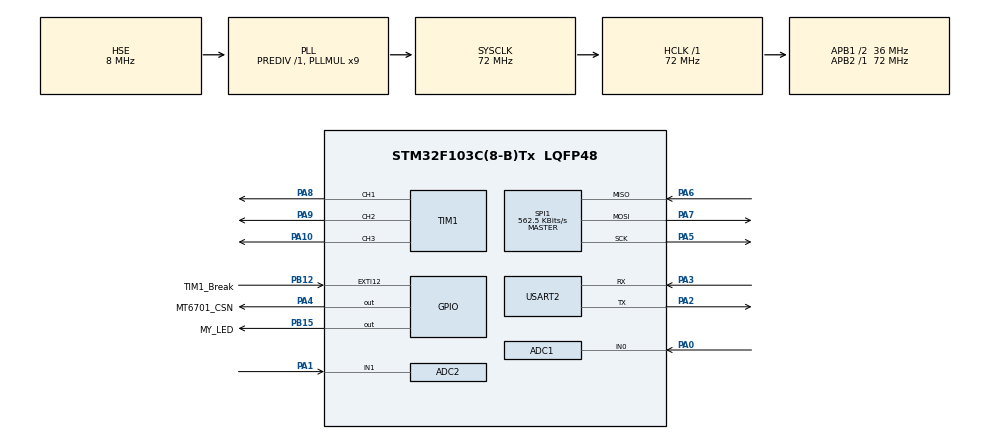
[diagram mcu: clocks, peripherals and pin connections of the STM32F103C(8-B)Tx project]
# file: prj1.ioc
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ADC1.Channel-1\#ChannelInjectedConversion=ADC_CHANNEL_0
ADC1.ContinuousConvMode=ENABLE
ADC1.EnableInjectedConversion=ENABLE
ADC1.EnableRegularConversion=DISABLE
ADC1.ExternalTrigInjecConv=ADC_EXTERNALTRIGINJECCONV_T1_TRGO
ADC1.InjNumberOfConversion=1
ADC1.InjectedOffset-1\#ChannelInjectedConversion=0
ADC1.InjectedRank-1\#ChannelInjectedConversion=1
ADC1.Mode=ADC_DUALMODE_INJECSIMULT
ADC1.SamplingTime-1\#ChannelInjectedConversion=ADC_SAMPLETIME_7CYCLES_5
ADC1.master=1
ADC2.Channel-1\#ChannelInjectedConversion=ADC_CHANNEL_1
ADC2.ContinuousConvMode=ENABLE
ADC2.EnableInjectedConversion=ENABLE
ADC2.EnableRegularConversion=DISABLE
ADC2.InjNumberOfConversion=1
ADC2.InjectedOffset-1\#ChannelInjectedConversion=0
ADC2.InjectedRank-1\#ChannelInjectedConversion=1
ADC2.Mode=ADC_DUALMODE_INJECSIMULT
ADC2.SamplingTime-1\#ChannelInjectedConversion=ADC_SAMPLETIME_7CYCLES_5
Dma.Request0=SPI1_RX
Dma.Request1=SPI1_TX
Dma.SPI1_RX.0.Direction=DMA_PERIPH_TO_MEMORY
Dma.SPI1_RX.0.Instance=DMA1_Channel2
Dma.SPI1_RX.0.MemDataAlignment=DMA_MDATAALIGN_BYTE
Dma.SPI1_RX.0.MemInc=DMA_MINC_ENABLE
Dma.SPI1_RX.0.Mode=DMA_NORMAL
Dma.SPI1_RX.0.PeriphDataAlignment=DMA_PDATAALIGN_BYTE
Dma.SPI1_RX.0.PeriphInc=DMA_PINC_DISABLE
Dma.SPI1_RX.0.Priority=DMA_PRIORITY_LOW
Dma.SPI1_TX.1.Direction=DMA_MEMORY_TO_PERIPH
Dma.SPI1_TX.1.Instance=DMA1_Channel3
Dma.SPI1_TX.1.MemDataAlignment=DMA_MDATAALIGN_BYTE
Dma.SPI1_TX.1.MemInc=DMA_MINC_ENABLE
Dma.SPI1_TX.1.Mode=DMA_NORMAL
Dma.SPI1_TX.1.PeriphDataAlignment=DMA_PDATAALIGN_BYTE
Dma.SPI1_TX.1.PeriphInc=DMA_PINC_DISABLE
Dma.SPI1_TX.1.Priority=DMA_PRIORITY_LOW
Mcu.Family=STM32F1
Mcu.Name=STM32F103C(8-B)Tx
Mcu.Package=LQFP48
Mcu.UserConstants=speed_calc_freq,motor_speed_calc_freq,motor_pwm_freq
NVIC.ADC1_2_IRQn=true\:1\:0\:true\:false\:true\:true\:true\:true
NVIC.DMA1_Channel2_IRQn=true\:0\:0\:false\:false\:true\:false\:true\:true
NVIC.DMA1_Channel3_IRQn=true\:0\:0\:false\:false\:true\:false\:true\:true
NVIC.EXTI15_10_IRQn=true\:3\:0\:true\:false\:true\:true\:true\:true
NVIC.PriorityGroup=NVIC_PRIORITYGROUP_4
NVIC.TIM3_IRQn=true\:1\:0\:true\:false\:true\:true\:true\:true
PA0-WKUP.Signal=ADCx_IN0
PA1.Signal=ADCx_IN1
PA10.Signal=S_TIM1_CH3
PA13.Mode=Serial_Wire
PA13.Signal=SYS_JTMS-SWDIO
PA14.Mode=Serial_Wire
PA14.Signal=SYS_JTCK-SWCLK
PA2.Mode=Asynchronous
PA2.Signal=USART2_TX
PA3.Mode=Asynchronous
PA3.Signal=USART2_RX
PA4.GPIO_Label=MT6701_CSN
PA4.Signal=GPIO_Output
PA5.Mode=Full_Duplex_Master
PA5.Signal=SPI1_SCK
PA6.Mode=Full_Duplex_Master
PA6.Signal=SPI1_MISO
PA7.Mode=Full_Duplex_Master
PA7.Signal=SPI1_MOSI
PA8.Signal=S_TIM1_CH1
PA9.Signal=S_TIM1_CH2
PB12.GPIO_Label=TIM1_Break
PB12.Signal=GPXTI12
PB15.GPIO_Label=MY_LED
PB15.Signal=GPIO_Output
PD0-OSC_IN.Mode=HSE-External-Oscillator
PD0-OSC_IN.Signal=RCC_OSC_IN
PD1-OSC_OUT.Mode=HSE-External-Oscillator
PD1-OSC_OUT.Signal=RCC_OSC_OUT
ProjectManager.HeapSize=0x200
ProjectManager.StackSize=0x400
ProjectManager.TargetToolchain=MDK-ARM V5.27
RCC.ADCPresc=RCC_ADCPCLK2_DIV6
RCC.AHBFreq_Value=72000000
RCC.APB1CLKDivider=RCC_HCLK_DIV2
RCC.APB1Freq_Value=36000000
RCC.APB1TimFreq_Value=72000000
RCC.APB2Freq_Value=72000000
RCC.APB2TimFreq_Value=72000000
RCC.HCLKFreq_Value=72000000
RCC.PLLMUL=RCC_PLL_MUL9
RCC.PLLSourceVirtual=RCC_PLLSOURCE_HSE
RCC.SYSCLKFreq_VALUE=72000000
RCC.SYSCLKSource=RCC_SYSCLKSOURCE_PLLCLK
RCC.USBFreq_Value=72000000
SH.ADCx_IN0.0=ADC1_IN0,IN0
SH.ADCx_IN1.0=ADC2_IN1,IN1
SH.S_TIM1_CH1.0=TIM1_CH1,PWM Generation1 CH1
SH.S_TIM1_CH2.0=TIM1_CH2,PWM Generation2 CH2
SH.S_TIM1_CH3.0=TIM1_CH3,PWM Generation3 CH3
SPI1.BaudRatePrescaler=SPI_BAUDRATEPRESCALER_128
SPI1.CLKPhase=SPI_PHASE_2EDGE
SPI1.CalculateBaudRate=562.5 KBits/s
SPI1.Direction=SPI_DIRECTION_2LINES
SPI1.Mode=SPI_MODE_MASTER
SPI1.VirtualType=VM_MASTER
STMicroelectronics.X-CUBE-ALGOBUILD.1.1.0.LibraryCcDSPOoLibraryJjDSPOoLibrary=true
TIM1.AutoReloadPreload=TIM_AUTORELOAD_PRELOAD_ENABLE
TIM1.BreakPolarity=TIM_BREAKPOLARITY_LOW
TIM1.Channel-PWM\ Generation1\ CH1=TIM_CHANNEL_1
TIM1.Channel-PWM\ Generation2\ CH2=TIM_CHANNEL_2
TIM1.Channel-PWM\ Generation3\ CH3=TIM_CHANNEL_3
TIM1.CounterMode=TIM_COUNTERMODE_CENTERALIGNED3
TIM1.LockLevel=TIM_LOCKLEVEL_1
TIM1.Period=(72*1000000/(2*motor_pwm_freq))
TIM1.RepetitionCounter=4
TIM1.TIM_MasterOutputTrigger=TIM_TRGO_UPDATE
TIM3.Period=1000000/speed_calc_freq-1
TIM3.Prescaler=72-1
USART2.VirtualMode=VM_ASYNC
VP_STMicroelectronics.X-CUBE-ALGOBUILD_VS_DSPOoLibraryJjLibrary_1.1.0.Mode=DSPOoLibraryJjLibrary
VP_TIM1_VS_ClockSourceINT.Mode=Internal
VP_TIM3_VS_ClockSourceINT.Mode=Internal
board=custom

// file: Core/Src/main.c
/* USER CODE BEGIN Header */
/**
  ******************************************************************************
  * @file           : main.c
  * @brief          : Main program body
  ******************************************************************************
  * @attention
  *
  * Copyright (c) 2026 STMicroelectronics.
  * All rights reserved.
  *
  * This software is licensed under terms that can be found in the LICENSE file
  * in the root directory of this software component.
  * If no LICENSE file comes with this software, it is provided AS-IS.
  *
  ******************************************************************************
  */
/* USER CODE END Header */
#include "main.h"
#include "adc.h"
#include "dma.h"
#include "spi.h"
#include "tim.h"
#include "usart.h"
#include "gpio.h"

/* USER CODE BEGIN Includes */
#include "conf.h"
#include "global_def.h"
#include <stdio.h>
#include "motor_runtime_param.h"
#include "foc.h"
/* USER CODE END Includes */

void SystemClock_Config(void);

/* USER CODE BEGIN 0 */
void set_pwm_duty(float d_u, float d_v, float d_w)
{
    d_u = min(max(d_u, 0.0f), 0.9f);
    d_v = min(max(d_v, 0.0f), 0.9f);
    d_w = min(max(d_w, 0.0f), 0.9f);
    const uint32_t primask = __get_PRIMASK();
    __disable_irq();
    __HAL_TIM_SET_COMPARE(&htim1, TIM_CHANNEL_1, d_u * htim1.Instance->ARR);
    __HAL_TIM_SET_COMPARE(&htim1, TIM_CHANNEL_2, d_v * htim1.Instance->ARR);
    __HAL_TIM_SET_COMPARE(&htim1, TIM_CHANNEL_3, d_w * htim1.Instance->ARR);
    __set_PRIMASK(primask);
}

static uint32_t open_loop_ticks;
static float open_loop_angle;
static float open_loop_frequency_hz;
static float open_loop_q = OPEN_LOOP_START_Q;

void HAL_TIM_PeriodElapsedCallback(TIM_HandleTypeDef *htim)
{
    if (htim->Instance != TIM3)
    {
        return;
    }

    const float dt = 1.0f / motor_speed_calc_freq;

    if (open_loop_ticks < OPEN_LOOP_ALIGN_TICKS)
    {
        foc_forward(OPEN_LOOP_ALIGN_D, 0.0f, 0.0f);
        open_loop_ticks++;
        return;
    }

    if (open_loop_ticks < OPEN_LOOP_ALIGN_TICKS + OPEN_LOOP_BLEND_TICKS)
    {
        const uint32_t blend_tick = open_loop_ticks - OPEN_LOOP_ALIGN_TICKS;
        const float blend = (float)blend_tick / OPEN_LOOP_BLEND_TICKS;
        const float d = OPEN_LOOP_ALIGN_D * (1.0f - blend);
        const float q = OPEN_LOOP_START_Q * blend;

        foc_forward(d, q, 0.0f);
        open_loop_ticks++;
        return;
    }

    if (open_loop_q < OPEN_LOOP_TARGET_Q)
    {
        open_loop_q += OPEN_LOOP_Q_RAMP_PER_SEC * dt;
        if (open_loop_q > OPEN_LOOP_TARGET_Q)
        {
            open_loop_q = OPEN_LOOP_TARGET_Q;
        }
    }

    if (open_loop_frequency_hz < OPEN_LOOP_TARGET_ELECTRICAL_HZ)
    {
        open_loop_frequency_hz += OPEN_LOOP_FREQ_RAMP_HZ_PER_SEC * dt;
        if (open_loop_frequency_hz > OPEN_LOOP_TARGET_ELECTRICAL_HZ)
        {
            open_loop_frequency_hz = OPEN_LOOP_TARGET_ELECTRICAL_HZ;
        }
    }

    open_loop_angle += 2.0f * PI * open_loop_frequency_hz * dt;
    if (open_loop_angle >= 2.0f * PI)
    {
        open_loop_angle -= 2.0f * PI;
    }

    foc_forward(0.0f, open_loop_q, open_loop_angle);
    open_loop_ticks++;
}
/* USER CODE END 0 */

int main(void)
{

    /* MCU Configuration--------------------------------------------------------*/

    /* Reset of all peripherals, Initializes the Flash interface and the Systick. */
    HAL_Init();

    /* Configure the system clock */
    SystemClock_Config();

    /* Initialize all configured peripherals */
    MX_GPIO_Init();
    MX_DMA_Init();
    MX_USART2_UART_Init();
    MX_SPI1_Init();
    MX_ADC1_Init();
    MX_ADC2_Init();
    MX_TIM1_Init();
    MX_TIM3_Init();
    /* USER CODE BEGIN 2 */
    extern uint8_t mt6701_rx_data[3];
    set_pwm_duty(0.5f, 0.5f, 0.5f);
    if (HAL_TIM_PWM_Start(&htim1, TIM_CHANNEL_1) != HAL_OK ||
        HAL_TIM_PWM_Start(&htim1, TIM_CHANNEL_2) != HAL_OK ||
        HAL_TIM_PWM_Start(&htim1, TIM_CHANNEL_3) != HAL_OK)
    {
        Error_Handler();
    }

    HAL_GPIO_WritePin(GPIOA, GPIO_PIN_4, GPIO_PIN_RESET);
    HAL_SPI_TransmitReceive_DMA(&hspi1, mt6701_rx_data, mt6701_rx_data, 3);

    if (HAL_TIM_Base_Start_IT(&htim3) != HAL_OK)
    {
        Error_Handler();
    }
    /* USER CODE END 2 */

    /* Infinite loop */
    /* USER CODE BEGIN WHILE */
    while (1)
    {
        HAL_Delay(1000);
    }

    /* USER CODE END 3 */
}

void SystemClock_Config(void)
{
    RCC_OscInitTypeDef RCC_OscInitStruct = {0};
    RCC_ClkInitTypeDef RCC_ClkInitStruct = {0};
    RCC_PeriphCLKInitTypeDef PeriphClkInit = {0};

    /** Initializes the RCC Oscillators according to the specified parameters
    * in the RCC_OscInitTypeDef structure.
    */
    RCC_OscInitStruct.OscillatorType = RCC_OSCILLATORTYPE_HSE;
    RCC_OscInitStruct.HSEState = RCC_HSE_ON;
    RCC_OscInitStruct.HSEPredivValue = RCC_HSE_PREDIV_DIV1;
    RCC_OscInitStruct.HSIState = RCC_HSI_ON;
    RCC_OscInitStruct.PLL.PLLState = RCC_PLL_ON;
    RCC_OscInitStruct.PLL.PLLSource = RCC_PLLSOURCE_HSE;
    RCC_OscInitStruct.PLL.PLLMUL = RCC_PLL_MUL9;

    if (HAL_RCC_OscConfig(&RCC_OscInitStruct) != HAL_OK)
    {
        Error_Handler();
    }

    /** Initializes the CPU, AHB and APB buses clocks
    */
    RCC_ClkInitStruct.ClockType = RCC_CLOCKTYPE_HCLK | RCC_CLOCKTYPE_SYSCLK
                                  | RCC_CLOCKTYPE_PCLK1 | RCC_CLOCKTYPE_PCLK2;
    RCC_ClkInitStruct.SYSCLKSource = RCC_SYSCLKSOURCE_PLLCLK;
    RCC_ClkInitStruct.AHBCLKDivider = RCC_SYSCLK_DIV1;
    RCC_ClkInitStruct.APB1CLKDivider = RCC_HCLK_DIV2;
    RCC_ClkInitStruct.APB2CLKDivider = RCC_HCLK_DIV1;

    if (HAL_RCC_ClockConfig(&RCC_ClkInitStruct, FLASH_LATENCY_2) != HAL_OK)
    {
        Error_Handler();
    }

    PeriphClkInit.PeriphClockSelection = RCC_PERIPHCLK_ADC;
    PeriphClkInit.AdcClockSelection = RCC_ADCPCLK2_DIV6;

    if (HAL_RCCEx_PeriphCLKConfig(&PeriphClkInit) != HAL_OK)
    {
        Error_Handler();
    }
}

void Error_Handler(void)
{
    __disable_irq();
    while (1)
    {
    }
}
